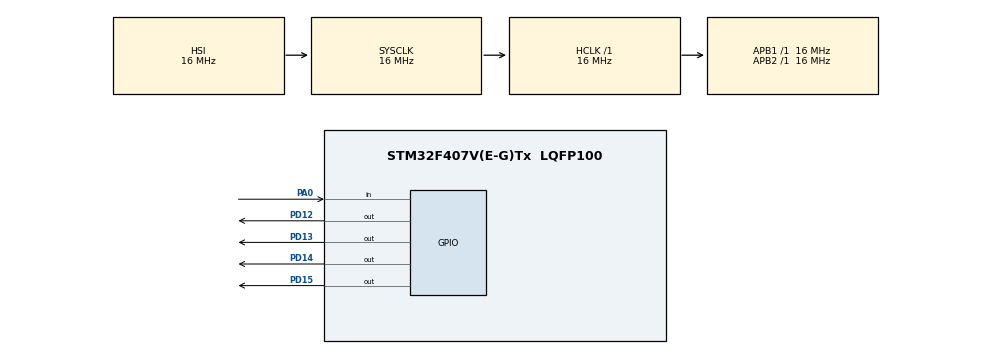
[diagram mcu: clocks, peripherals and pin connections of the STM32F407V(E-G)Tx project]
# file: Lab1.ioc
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Mcu.Family=STM32F4
Mcu.Name=STM32F407V(E-G)Tx
Mcu.Package=LQFP100
NVIC.PriorityGroup=NVIC_PRIORITYGROUP_4
PA0-WKUP.Signal=GPIO_Input
PD12.Signal=GPIO_Output
PD13.Signal=GPIO_Output
PD14.Signal=GPIO_Output
PD15.Signal=GPIO_Output
ProjectManager.HeapSize=0x200
ProjectManager.StackSize=0x400
ProjectManager.TargetToolchain=STM32CubeIDE
RCC.AHBFreq_Value=16000000
RCC.APB1Freq_Value=16000000
RCC.APB2Freq_Value=16000000
RCC.CortexFreq_Value=16000000
RCC.HSE_VALUE=25000000
RCC.HSI_VALUE=16000000
RCC.LSE_VALUE=32768
RCC.SYSCLKFreq_VALUE=16000000
RCC.VCOOutputFreq_Value=192000000
board=custom

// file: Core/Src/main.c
/* USER CODE BEGIN Header */
/**
  ******************************************************************************
  * @file           : main.c
  * @brief          : Main program body
  ******************************************************************************
  * @attention
  *
  * Copyright (c) 2024 STMicroelectronics.
  * All rights reserved.
  *
  * This software is licensed under terms that can be found in the LICENSE file
  * in the root directory of this software component.
  * If no LICENSE file comes with this software, it is provided AS-IS.
  *
  ******************************************************************************
  */
/* USER CODE END Header */
#include "main.h"

void SystemClock_Config(void);
static void MX_GPIO_Init(void);

int main(void)
{
  /* USER CODE BEGIN 1 */
	int toggleOrange = 0;

  /* USER CODE END 1 */

  /* MCU Configuration--------------------------------------------------------*/

  /* Reset of all peripherals, Initializes the Flash interface and the Systick. */
  HAL_Init();

  /* Configure the system clock */
  SystemClock_Config();

  /* Initialize all configured peripherals */
  MX_GPIO_Init();
  /* USER CODE BEGIN 2 */
  // 2 variantas, pirmas laboratorinis darbas
  int uzdNr = 3;
  long int freq = 1000;
  /*
   * 1. Naudodami žalią ir raudoną šviesos diodus periodiškai kas sekundę kartokite dvejetainių skai�?ių kombinacijas 0, 2, 3. (2 balai).
   * 2. Parašykite programą, kad žalias šviesos diodas mirksėtų kas sekundę, o oranžinis kas dvi sekundes (2 balai)
   * 3. Paspaudus vartotojo mygtuką uždekite geltoną šviesos diodą. Geltonas šviesos diodas turi degti tik tol, kol bus paspaustas vartotojo mygtukas
   * 4. Papildykite programą, kad galėtumėte keisti mėlyno šviesos diodo mirksėjimo dažnumą.
		Pradinis mirksėjimo dažnumas 1 sekundė. Mirksėjimo dažnumas turi būti valdomas su
		vartotojo mygtuku. Kiekvieną kartą paspaudus vartotojo mygtuką mirksėjimo dažnumas
		turi padidėti 2 sekundžių žingsniu
   * */
  /* USER CODE END 2 */

  /* Infinite loop */
  while (1)
  {

    /* USER CODE BEGIN 3 */
	  if(uzdNr == 1){
	  		  HAL_GPIO_WritePin(GPIOD, GPIO_PIN_15, GPIO_PIN_RESET); /* 15 - Melyna; 12 - Zalia */
	  		  HAL_GPIO_WritePin(GPIOD, GPIO_PIN_12, GPIO_PIN_RESET);
	  		  HAL_Delay(500);
	  		  HAL_GPIO_WritePin(GPIOD, GPIO_PIN_12, GPIO_PIN_SET); // GPIO_PIN_12 - 1 bitas
	  		  HAL_Delay(500);
	  		  HAL_GPIO_WritePin(GPIOD, GPIO_PIN_15, GPIO_PIN_SET); // GPIO_PIN_15 - 0 bitas
	  		  HAL_Delay(1000);
	  	  }else if(uzdNr == 2){ // oranzinis - 13
	  			HAL_GPIO_TogglePin(GPIOD, GPIO_PIN_12);
	  			HAL_Delay(1000);

	  			if (toggleOrange) {
	  			  HAL_GPIO_TogglePin(GPIOD, GPIO_PIN_13);
	  			}
	  			toggleOrange = !toggleOrange;
	  	  }else if(uzdNr == 3){
	  		  HAL_GPIO_WritePin(GPIOD, GPIO_PIN_13, GPIO_PIN_RESET);
	  		  while (HAL_GPIO_ReadPin(GPIOA, GPIO_PIN_0)){
	  			  HAL_GPIO_WritePin(GPIOD, GPIO_PIN_13, GPIO_PIN_SET);
	  		  }
	  	  }else if(uzdNr == 4){
	  		  if(HAL_GPIO_ReadPin(GPIOA, GPIO_PIN_0)){
	  			  freq += 2000;
	  			HAL_Delay(150);
	  		  }
	  		  HAL_GPIO_WritePin(GPIOD, GPIO_PIN_15, GPIO_PIN_RESET);
	  		  HAL_Delay(freq);
	  		  HAL_GPIO_WritePin(GPIOD, GPIO_PIN_15, GPIO_PIN_SET);
			  HAL_Delay(freq);
	  	  }
  }
  /* USER CODE END 3 */
}

void SystemClock_Config(void)
{
  RCC_OscInitTypeDef RCC_OscInitStruct = {0};
  RCC_ClkInitTypeDef RCC_ClkInitStruct = {0};

  /** Configure the main internal regulator output voltage
  */
  __HAL_RCC_PWR_CLK_ENABLE();
  __HAL_PWR_VOLTAGESCALING_CONFIG(PWR_REGULATOR_VOLTAGE_SCALE1);

  /** Initializes the RCC Oscillators according to the specified parameters
  * in the RCC_OscInitTypeDef structure.
  */
  RCC_OscInitStruct.OscillatorType = RCC_OSCILLATORTYPE_HSI;
  RCC_OscInitStruct.HSIState = RCC_HSI_ON;
  RCC_OscInitStruct.HSICalibrationValue = RCC_HSICALIBRATION_DEFAULT;
  RCC_OscInitStruct.PLL.PLLState = RCC_PLL_NONE;
  if (HAL_RCC_OscConfig(&RCC_OscInitStruct) != HAL_OK)
  {
    Error_Handler();
  }

  /** Initializes the CPU, AHB and APB buses clocks
  */
  RCC_ClkInitStruct.ClockType = RCC_CLOCKTYPE_HCLK|RCC_CLOCKTYPE_SYSCLK
                              |RCC_CLOCKTYPE_PCLK1|RCC_CLOCKTYPE_PCLK2;
  RCC_ClkInitStruct.SYSCLKSource = RCC_SYSCLKSOURCE_HSI;
  RCC_ClkInitStruct.AHBCLKDivider = RCC_SYSCLK_DIV1;
  RCC_ClkInitStruct.APB1CLKDivider = RCC_HCLK_DIV1;
  RCC_ClkInitStruct.APB2CLKDivider = RCC_HCLK_DIV1;

  if (HAL_RCC_ClockConfig(&RCC_ClkInitStruct, FLASH_LATENCY_0) != HAL_OK)
  {
    Error_Handler();
  }
}

static void MX_GPIO_Init(void)
{
  GPIO_InitTypeDef GPIO_InitStruct = {0};

  /* GPIO Ports Clock Enable */
  __HAL_RCC_GPIOA_CLK_ENABLE();
  __HAL_RCC_GPIOD_CLK_ENABLE();

  /*Configure GPIO pin Output Level */
  HAL_GPIO_WritePin(GPIOD, GPIO_PIN_12|GPIO_PIN_13|GPIO_PIN_14|GPIO_PIN_15, GPIO_PIN_RESET);

  /*Configure GPIO pin : PA0 */
  GPIO_InitStruct.Pin = GPIO_PIN_0;
  GPIO_InitStruct.Mode = GPIO_MODE_INPUT;
  GPIO_InitStruct.Pull = GPIO_NOPULL;
  HAL_GPIO_Init(GPIOA, &GPIO_InitStruct);

  /*Configure GPIO pins : PD12 PD13 PD14 PD15 */
  GPIO_InitStruct.Pin = GPIO_PIN_12|GPIO_PIN_13|GPIO_PIN_14|GPIO_PIN_15;
  GPIO_InitStruct.Mode = GPIO_MODE_OUTPUT_PP;
  GPIO_InitStruct.Pull = GPIO_NOPULL;
  GPIO_InitStruct.Speed = GPIO_SPEED_FREQ_LOW;
  HAL_GPIO_Init(GPIOD, &GPIO_InitStruct);

}

void Error_Handler(void)
{
  __disable_irq();
  while (1)
  {
  }
}
